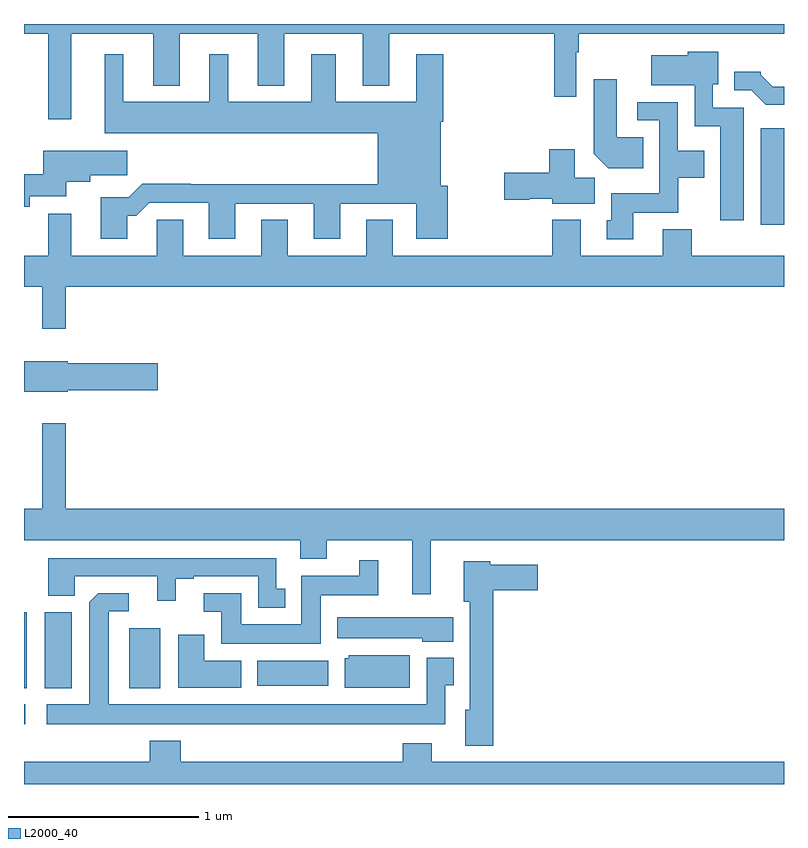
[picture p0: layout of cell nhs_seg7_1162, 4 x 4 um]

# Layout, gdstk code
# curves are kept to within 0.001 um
import gdstk
lib = gdstk.Library(unit=1e-6, precision=1e-09)
def R(c, l, rs):  # rectangles x0, y0, x1, y1
    for r in rs: c.add(gdstk.rectangle(r[:2], r[2:], *l))
def P(c, l, *ps):  # polygons
    for p in ps: c.add(gdstk.Polygon(p, *l))
L2000_40 = (2000, 40)

nhs_seg7_1162 = lib.new_cell('nhs_seg7_1162')
R(nhs_seg7_1162, L2000_40, [(193,998.315,193.006,998.419), (193,998.504,193.015,998.905), (193.109,998.504,193.252,998.905), (193.553,998.504,193.717,998.821), (194.228,998.516,194.602,998.65), (196.877,1000.944,197,1001.452)])
P(nhs_seg7_1162, L2000_40, [(193.249,1001.948),(193.679,1001.948),(193.679,1001.675),(193.819,1001.675),(193.819,1001.948),(194.231,1001.948),(194.231,1001.675),(194.371,1001.675),(194.371,1001.948),(194.783,1001.948),(194.783,1001.675),(194.923,1001.675),(194.923,1001.948),(195.79,1001.948),(195.79,1001.616),(195.906,1001.616),(195.906,1001.852),(195.919,1001.852),(195.919,1001.948),(197,1001.948),(197,1002),(193,1002),(193,1001.948),(193.128,1001.948),(193.128,1001.499),(193.249,1001.499)],
  [(196.789,1001.559),(196.626,1001.559),(196.626,1001.682),(196.654,1001.682),(196.654,1001.854),(196.494,1001.854),(196.494,1001.836),(196.302,1001.836),(196.302,1001.678),(196.53,1001.678),(196.53,1001.462),(196.664,1001.462),(196.664,1000.968),(196.789,1000.968)],
  [(193.543,1000.991),(193.592,1000.991),(193.659,1001.058),(193.973,1001.058),(193.973,1000.869),(194.113,1000.869),(194.113,1001.055),(194.525,1001.055),(194.525,1000.869),(194.665,1000.869),(194.665,1001.055),(195.065,1001.055),(195.065,1000.869),(195.23,1000.869),(195.23,1001.148),(195.193,1001.148),(195.193,1001.486),(195.206,1001.486),(195.206,1001.842),(195.065,1001.842),(195.065,1001.59),(194.641,1001.59),(194.641,1001.842),(194.513,1001.842),(194.513,1001.59),(194.074,1001.59),(194.074,1001.842),(193.976,1001.842),(193.976,1001.59),(193.522,1001.59),(193.522,1001.842),(193.424,1001.842),(193.424,1001.426),(194.861,1001.426),(194.861,1001.156),(193.877,1001.156),(193.877,1001.159),(193.622,1001.159),(193.552,1001.089),(193.403,1001.089),(193.403,1000.869),(193.543,1000.869)],
  [(197,1001.67),(196.942,1001.67),(196.878,1001.734),(196.878,1001.749),(196.739,1001.749),(196.739,1001.652),(196.827,1001.652),(196.903,1001.576),(197,1001.576)],
  [(196.259,1001.404),(196.12,1001.404),(196.12,1001.71),(195.998,1001.71),(195.998,1001.318),(196.076,1001.24),(196.259,1001.24)],
  [(196.207,1001.006),(196.443,1001.006),(196.443,1001.192),(196.579,1001.192),(196.579,1001.332),(196.44,1001.332),(196.44,1001.589),(196.227,1001.589),(196.227,1001.493),(196.344,1001.493),(196.344,1001.11),(196.091,1001.11),(196.091,1000.968),(196.067,1000.968),(196.067,1000.866),(196.207,1000.866)],
  [(196.003,1001.192),(195.898,1001.192),(195.898,1001.341),(195.764,1001.341),(195.764,1001.216),(195.528,1001.216),(195.528,1001.074),(195.66,1001.074),(195.66,1001.081),(195.78,1001.081),(195.78,1001.054),(196.003,1001.054)],
  [(193.03,1001.094),(193.222,1001.094),(193.222,1001.171),(193.348,1001.171),(193.348,1001.203),(193.543,1001.203),(193.543,1001.332),(193.1,1001.332),(193.1,1001.21),(193,1001.21),(193,1001.039),(193.03,1001.039)],
  [(193.219,1000.616),(197,1000.616),(197,1000.78),(196.514,1000.78),(196.514,1000.921),(196.361,1000.921),(196.361,1000.78),(195.931,1000.78),(195.931,1000.969),(195.779,1000.969),(195.779,1000.78),(194.941,1000.78),(194.941,1000.97),(194.801,1000.97),(194.801,1000.78),(194.389,1000.78),(194.389,1000.97),(194.249,1000.97),(194.249,1000.78),(193.837,1000.78),(193.837,1000.97),(193.698,1000.97),(193.698,1000.78),(193.249,1000.78),(193.249,1001.002),(193.128,1001.002),(193.128,1000.78),(193,1000.78),(193,1000.616),(193.097,1000.616),(193.097,1000.395),(193.219,1000.395)],
  [(193.23,1000.073),(193.705,1000.073),(193.705,1000.215),(193.23,1000.215),(193.23,1000.225),(193,1000.225),(193,1000.064),(193.23,1000.064)],
  [(195.142,999.284),(197,999.284),(197,999.448),(193.219,999.448),(193.219,999.898),(193.097,999.898),(193.097,999.448),(193,999.448),(193,999.284),(194.453,999.284),(194.453,999.185),(194.593,999.185),(194.593,999.284),(195.044,999.284),(195.044,999),(195.142,999)],
  [(194.374,999.027),(194.328,999.027),(194.328,999.189),(193.127,999.189),(193.127,998.99),(193.266,998.99),(193.266,999.093),(193.7,999.093),(193.7,998.964),(193.798,998.964),(193.798,999.081),(193.894,999.081),(193.894,999.093),(194.232,999.093),(194.232,998.927),(194.374,998.927)],
  [(194.563,998.993),(194.864,998.993),(194.864,999.178),(194.765,999.178),(194.765,999.097),(194.459,999.097),(194.459,998.842),(194.143,998.842),(194.143,999.003),(193.947,999.003),(193.947,998.907),(194.039,998.907),(194.039,998.738),(194.563,998.738)],
  [(195.47,999.02),(195.703,999.02),(195.703,999.154),(195.453,999.154),(195.453,999.172),(195.314,999.172),(195.314,998.958),(195.347,998.958),(195.347,998.391),(195.323,998.391),(195.323,998.201),(195.47,998.201)],
  [(195.217,998.521),(195.262,998.521),(195.262,998.665),(195.12,998.665),(195.12,998.419),(193.447,998.419),(193.447,998.91),(193.552,998.91),(193.552,999.003),(193.39,999.003),(193.344,998.957),(193.343,998.419),(193.119,998.419),(193.119,998.315),(195.217,998.315)],
  [(195.259,998.878),(194.648,998.878),(194.648,998.768),(195.096,998.768),(195.096,998.75),(195.259,998.75)],
  [(194.143,998.65),(193.948,998.65),(193.948,998.785),(193.811,998.785),(193.811,998.507),(194.143,998.507)],
  [(195.031,998.677),(194.709,998.677),(194.709,998.661),(194.687,998.661),(194.687,998.507),(195.031,998.507)],
  [(193.661,998.227),(193.661,998.116),(193,998.116),(193,998),(197,998),(197,998.116),(195.145,998.116),(195.145,998.215),(194.993,998.215),(194.993,998.116),(193.826,998.116),(193.826,998.227)])

lib.write_gds('nhs_seg7_1162.gds')
